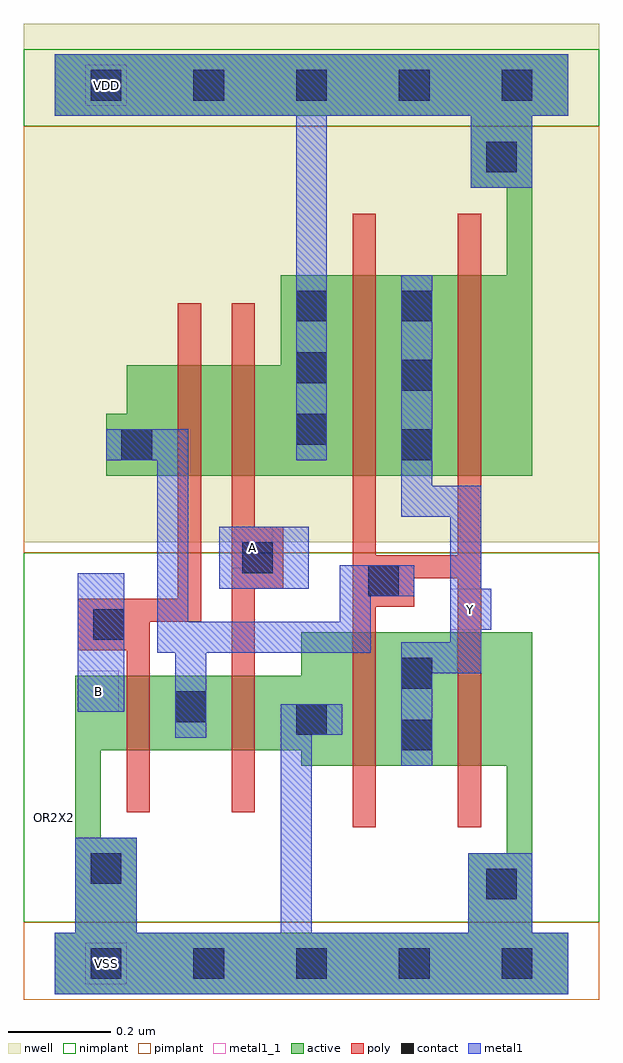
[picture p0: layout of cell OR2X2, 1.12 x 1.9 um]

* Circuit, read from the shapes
.subckt OR2X2 A B VDD VSS Y
M1 n1 B VSS VSS nfet w=0.145u l=0.045u
M2 VSS A n1 VSS nfet w=0.145u l=0.045u
M3 Y n1 VSS VSS nfet w=0.26u l=0.045u m=2
M4 n2 B n1 VDD pfet w=0.215u l=0.045u
M5 VDD A n2 VDD pfet w=0.215u l=0.045u
M6 Y n1 VDD VDD pfet w=0.39u l=0.045u m=2
.ends

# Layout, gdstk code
import gdstk
lib = gdstk.Library(unit=1e-6, precision=5e-10)
def R(c, l, rs):  # rectangles x0, y0, x1, y1
    for r in rs: c.add(gdstk.rectangle(r[:2], r[2:], *l))
def A(c, l, x, y, w, h, nx, ny, dx, dy):  # array of equal rectangles
    R(c, l, [(x+i*dx, y+j*dy, x+i*dx+w, y+j*dy+h) for i in range(nx) for j in range(ny)])
def P(c, l, *ps):  # polygons
    for p in ps: c.add(gdstk.Polygon(p, *l))
active = (1, 0)
nwell = (2, 0)
poly = (3, 0)
nimplant = (4, 0)
pimplant = (5, 0)
contact = (6, 0)
metal1 = (7, 0)
metal1_1 = (7, 1)

or2x2 = lib.new_cell('OR2X2')
P(or2x2, active, [(1,0.06),(0.93,0.06),(0.93,0.645),(0.88,0.645),(0.88,0.215),(0.805,0.215),(0.805,0.06),(0.16,0.06),(0.16,0.245),(0.09,0.245),(0.09,0.415),(0.48,0.415),(0.48,0.385),(0.88,0.385),(0.88,0.645),(0.48,0.645),(0.48,0.56),(0.04,0.56),(0.04,0.06),(0,0.06),(0,-0.06),(1,-0.06)],
  [(1,1.77),(0,1.77),(0,1.65),(0.81,1.65),(0.81,1.51),(0.88,1.51),(0.88,1.34),(0.44,1.34),(0.44,1.165),(0.14,1.165),(0.14,1.07),(0.1,1.07),(0.1,0.95),(0.93,0.95),(0.93,1.65),(1,1.65)])
R(or2x2, nwell, [(-0.06,0.82,1.06,1.83)])
P(or2x2, poly, [(0.58,1.46),(0.625,1.46),(0.625,0.795),(0.785,0.795),(0.785,1.46),(0.83,1.46),(0.83,0.265),(0.785,0.265),(0.785,0.75),(0.7,0.75),(0.7,0.695),(0.625,0.695),(0.625,0.265),(0.58,0.265)],
  [(0.24,1.285),(0.285,1.285),(0.285,0.665),(0.185,0.665),(0.185,0.295),(0.14,0.295),(0.14,0.61),(0.045,0.61),(0.045,0.71),(0.24,0.71)],
  [(0.345,1.285),(0.39,1.285),(0.39,0.85),(0.445,0.85),(0.445,0.73),(0.39,0.73),(0.39,0.295),(0.345,0.295)])
R(or2x2, nimplant, [(-0.06,0.08,1.06,0.8), (-0.06,1.63,1.06,1.78)])
R(or2x2, pimplant, [(-0.06,-0.07,1.06,0.08), (-0.06,0.8,1.06,1.63)])
A(or2x2, contact, 0.07, -0.03, 0.06, 0.06, 5, 2, 0.2, 1.71)
A(or2x2, contact, 0.675, 0.98, 0.06, 0.06, 1, 3, 0, 0.135)
A(or2x2, contact, 0.47, 1.01, 0.06, 0.06, 1, 3, 0, 0.12)
R(or2x2, contact, [(0.84,0.125,0.9,0.185), (0.07,0.155,0.13,0.215), (0.675,0.415,0.735,0.475), (0.47,0.445,0.53,0.505), (0.235,0.47,0.295,0.53), (0.675,0.535,0.735,0.595), (0.075,0.63,0.135,0.69), (0.61,0.715,0.67,0.775), (0.365,0.76,0.425,0.82), (0.13,0.98,0.19,1.04), (0.84,1.54,0.9,1.6)])
R(or2x2, metal1, [(0.045,0.49,0.135,0.76), (0.32,0.73,0.495,0.85), (0.81,1.51,0.93,1.65)])
P(or2x2, metal1, [(1,1.77),(0,1.77),(0,1.65),(0.47,1.65),(0.47,0.98),(0.53,0.98),(0.53,1.65),(1,1.65)],
  [(1,0.06),(0.93,0.06),(0.93,0.215),(0.805,0.215),(0.805,0.06),(0.5,0.06),(0.5,0.445),(0.56,0.445),(0.56,0.505),(0.44,0.505),(0.44,0.06),(0.16,0.06),(0.16,0.245),(0.04,0.245),(0.04,0.06),(0,0.06),(0,-0.06),(1,-0.06)],
  [(0.85,0.73),(0.83,0.73),(0.83,0.93),(0.735,0.93),(0.735,1.34),(0.675,1.34),(0.675,0.87),(0.77,0.87),(0.77,0.625),(0.675,0.625),(0.675,0.385),(0.735,0.385),(0.735,0.565),(0.83,0.565),(0.83,0.65),(0.85,0.65)],
  [(0.7,0.775),(0.555,0.775),(0.555,0.665),(0.26,0.665),(0.26,1.04),(0.1,1.04),(0.1,0.98),(0.2,0.98),(0.2,0.605),(0.235,0.605),(0.235,0.44),(0.295,0.44),(0.295,0.605),(0.615,0.605),(0.615,0.715),(0.7,0.715)])
R(or2x2, metal1_1, [(0.06,-0.04,0.14,0.04), (0.045,0.49,0.125,0.57), (0.77,0.65,0.85,0.73), (0.345,0.77,0.425,0.85), (0.06,1.67,0.14,1.75)])
or2x2.add(gdstk.Label('VSS', (0.1,0), layer=7, texttype=1))
or2x2.add(gdstk.Label('Y', (0.81,0.69), layer=7, texttype=1))
or2x2.add(gdstk.Label('A', (0.385,0.81), layer=7, texttype=1))
or2x2.add(gdstk.Label('B', (0.085,0.53), layer=7, texttype=1))
or2x2.add(gdstk.Label('VDD', (0.1,1.71), layer=7, texttype=1))
or2x2.add(gdstk.Label('OR2X2', (0,0.285), layer=63, texttype=0))

lib.write_gds('OR2X2.gds')
